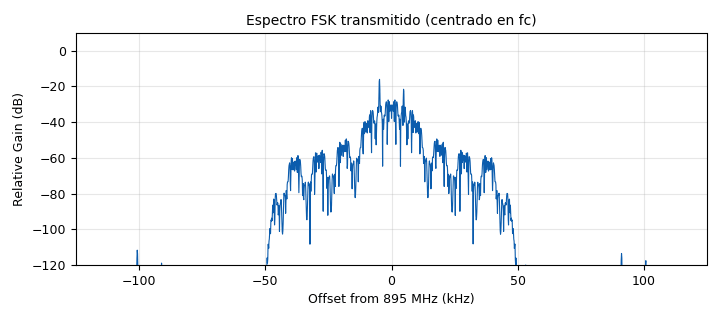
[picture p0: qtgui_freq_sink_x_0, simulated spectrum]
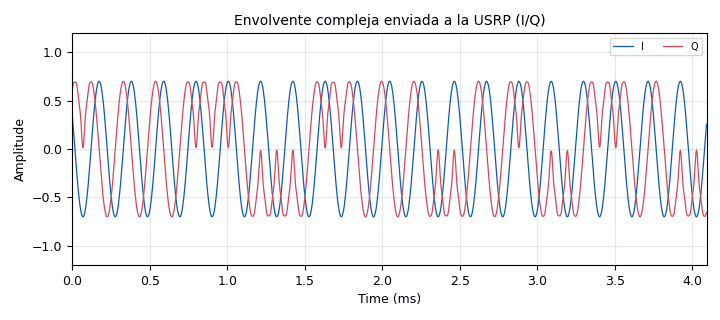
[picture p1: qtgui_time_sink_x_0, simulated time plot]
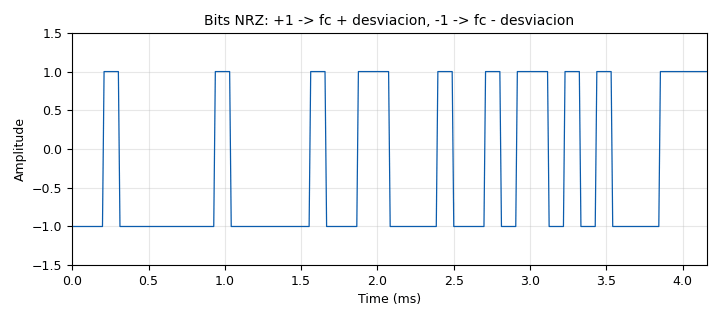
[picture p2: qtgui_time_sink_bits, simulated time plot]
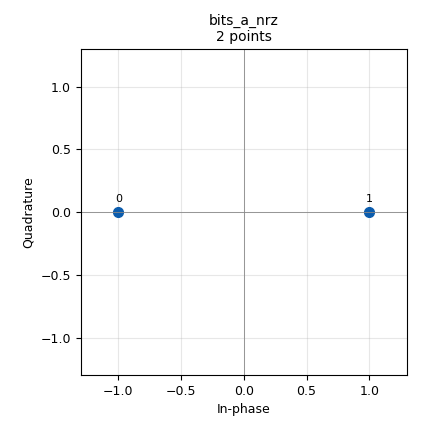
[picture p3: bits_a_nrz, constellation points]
options:
  parameters:
    author: Grupo A1-GG
    description: Solo transmision. Vector Source con mensaje conocido, FSK binaria de fase continua (bit 1 -> fc + desviacion, bit 0 -> fc - desviacion) a 9,6 kbps, adaptacion de tasa a 250 kS/s y osmocom Sink (UHD) a 895 MHz. Sin canal simulado ni receptor.
    generate_options: qt_gui
    id: FSK_DCI_Fase3_Tx_USRP2920
    output_language: python
    title: Fase 3 - Transmisor FSK (DCI) con USRP-2920 a 895 MHz
  states: {}

blocks:
- name: Rb
  id: variable
  parameters:
    value: '9600'
    comment: Tasa de bits [b/s]
  states: {}
- name: Sps
  id: variable
  parameters:
    value: '10'
    comment: Muestras por bit
  states: {}
- name: samp_rate
  id: variable
  parameters:
    value: Rb*Sps
    comment: 96 kS/s en banda base
  states: {}
- name: h
  id: variable
  parameters:
    value: '1.0'
    comment: 'Indice de modulacion h = 2*desviacion/Rb (h = 1: tonos ortogonales separados Rb)'
  states: {}
- name: desviacion
  id: variable
  parameters:
    value: h*Rb/2
    comment: 'Desviacion de frecuencia [Hz]: tonos en fc -/+ desviacion'
  states: {}
- name: import_0
  id: import
  parameters:
    imports: import math
  states: {}
- name: mensaje
  id: variable
  parameters:
    value: '"UIS - Comunicaciones II - Grupo A1-GG - Enlace FSK DCI. "'
    comment: Mensaje conocido (solo ASCII)
  states: {}
- name: samp_rate_usrp
  id: variable
  parameters:
    value: 250e3
    comment: '100 MHz / 400: tasa entera admitida por la USRP-2920'
  states: {}
- name: interp_usrp
  id: variable
  parameters:
    value: int(samp_rate_usrp/math.gcd(int(samp_rate_usrp),int(samp_rate)))
  states: {}
- name: decim_usrp
  id: variable
  parameters:
    value: int(samp_rate/math.gcd(int(samp_rate_usrp),int(samp_rate)))
  states: {}
- name: fc
  id: variable
  parameters:
    value: 895e6
    comment: 'Portadora asignada: 895 MHz'
  states: {}
- name: usrp_args
  id: variable
  parameters:
    value: '"uhd,addr=192.168.10.2"'
    comment: IP de fabrica de la USRP-2920; cambiar si el laboratorio usa otra
  states: {}
- name: ganancia_tx
  id: variable_qtgui_range
  parameters:
    label: '"Ganancia Tx [dB]"'
    value: '10'
    start: '0'
    stop: '31'
    step: '0.5'
    gui_hint: 1,0,1,1
  states: {}
- name: amp_tx
  id: variable_qtgui_range
  parameters:
    label: '"Amplitud digital"'
    value: '0.7'
    start: '0'
    stop: '0.85'
    step: '0.05'
    gui_hint: 1,1,1,1
  states: {}
- name: lbl_fc
  id: variable_qtgui_label
  parameters:
    label: '"Portadora [MHz]"'
    type: real
    value: fc/1e6
    gui_hint: 1,2,1,1
  states: {}
- name: lbl_mensaje_tx
  id: variable_qtgui_label
  parameters:
    label: '"Mensaje transmitido"'
    type: string
    value: mensaje
    gui_hint: 0,0,1,2
  states: {}
- name: lbl_tonos
  id: variable_qtgui_label
  parameters:
    label: '"Tonos f0 / f1 [MHz]"'
    type: string
    value: '"%.4f / %.4f" % ((fc - desviacion)/1e6, (fc + desviacion)/1e6)'
    gui_hint: 0,2,1,1
  states: {}
- name: fuente_mensaje
  id: blocks_vector_source_x
  parameters:
    type: byte
    vector: list(mensaje.encode("ascii"))
    repeat: 'True'
    comment: 'Vector Source: mensaje conocido'
  states: {}
- name: bytes_a_bits
  id: blocks_repack_bits_bb
  parameters:
    comment: 8 bits por byte -> 1 bit por muestra (MSB primero)
    endianness: gr.GR_MSB_FIRST
    k: '8'
    l: '1'
  states: {}
- name: bits_a_nrz
  id: digital_chunks_to_symbols_xx
  parameters:
    dimension: '1'
    in_type: byte
    out_type: float
    symbol_table: '[-1.0, 1.0]'
    comment: 'NRZ polar: bit 0 -> -1, bit 1 -> +1'
  states: {}
- name: retencion_bit
  id: blocks_repeat
  parameters:
    type: float
    interp: Sps
    comment: 'Pulso rectangular: cada bit dura Sps muestras'
  states: {}
- name: modulador_fsk
  id: analog_frequency_modulator_fc
  parameters:
    sensitivity: 2*math.pi*desviacion/samp_rate
    comment: 'FSK de fase continua: frecuencia instantanea = desviacion * NRZ'
  states: {}
- name: adaptacion_tasa
  id: rational_resampler_xxx
  parameters:
    type: ccc
    interp: interp_usrp
    decim: decim_usrp
    fbw: '0.4'
    comment: 96 kS/s -> 250 kS/s (125/48). Rb = 9,6 kb/s no cambia
  states: {}
- name: escala_tx
  id: blocks_multiply_const_vxx
  parameters:
    type: complex
    const: amp_tx
    comment: 'Envolvente constante |s| = 1: con amp_tx <= 0.85 no satura el DAC'
  states: {}
- name: usrp_2920_tx
  id: osmosdr_sink
  parameters:
    type: fc32
    args: usrp_args
    sync: none
    sample_rate: samp_rate_usrp
    freq0: fc
    gain0: ganancia_tx
    if_gain0: '20'
    bb_gain0: '20'
    ant0: '"TX/RX"'
    comment: 'USRP-2920 via UHD. Antena TX/RX. Ganancia RF 0-31 dB. Sync = Don''t Sync: no hay senal PPS conectada'
  states: {}
- name: qtgui_freq_sink_x_0
  id: qtgui_freq_sink_x
  parameters:
    bw: samp_rate_usrp
    fc: fc
    fftsize: '2048'
    grid: 'True'
    gui_hint: 2,0,1,3
    label1: '"Senal enviada a la USRP"'
    legend: 'False'
    name: '"Espectro FSK transmitido (centrado en fc)"'
    type: complex
    ymin: '-120'
  states: {}
- name: qtgui_time_sink_x_0
  id: qtgui_time_sink_x
  parameters:
    grid: 'True'
    gui_hint: 3,0,1,2
    label1: I
    label2: Q
    name: '"Envolvente compleja enviada a la USRP (I/Q)"'
    size: '1024'
    srate: samp_rate_usrp
    type: complex
    ymax: '1.2'
    ymin: '-1.2'
  states: {}
- name: qtgui_time_sink_bits
  id: qtgui_time_sink_x
  parameters:
    entags: 'False'
    grid: 'True'
    gui_hint: 3,2,1,1
    label1: Bits
    legend: 'False'
    name: '"Bits NRZ: +1 -> fc + desviacion, -1 -> fc - desviacion"'
    size: '400'
    srate: samp_rate
    type: float
    ymax: '1.5'
    ymin: '-1.5'
  states: {}

connections:
- [fuente_mensaje, '0', bytes_a_bits, '0']
- [bytes_a_bits, '0', bits_a_nrz, '0']
- [bits_a_nrz, '0', retencion_bit, '0']
- [retencion_bit, '0', modulador_fsk, '0']
- [retencion_bit, '0', qtgui_time_sink_bits, '0']
- [modulador_fsk, '0', adaptacion_tasa, '0']
- [adaptacion_tasa, '0', escala_tx, '0']
- [escala_tx, '0', usrp_2920_tx, '0']
- [escala_tx, '0', qtgui_freq_sink_x_0, '0']
- [escala_tx, '0', qtgui_time_sink_x_0, '0']

metadata:
  file_format: 1
  grc_version: 3.10.12.0
